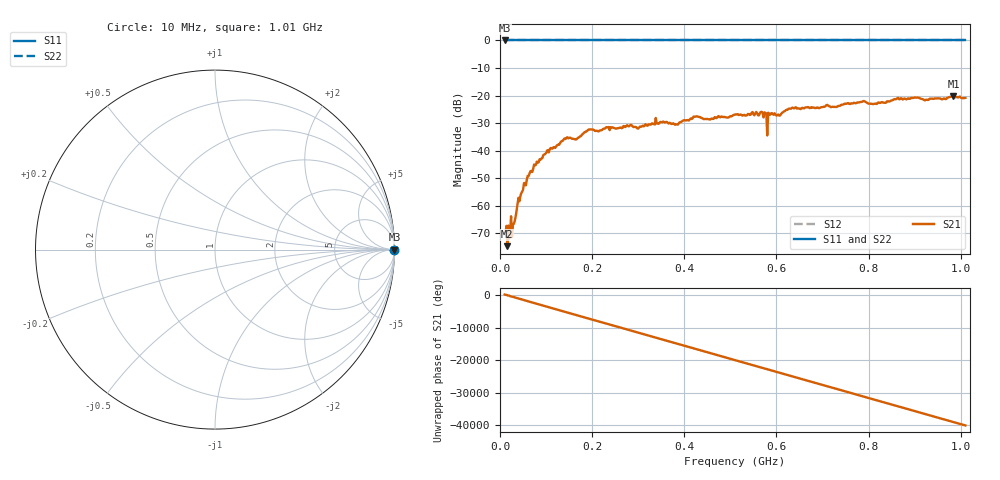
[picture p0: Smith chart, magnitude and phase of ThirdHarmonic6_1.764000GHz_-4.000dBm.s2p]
! 8/16/2025 9:17:46 PM
! C:\ANRITSUVNA\TEMP\TEMP.S2P
! CHANNEL.1
! TR.MEASUREMENT
! RAW.DATA
! RF.CORRECTION.OFF
! AVERAGING.OFF
! IF.BANDWIDTH: 5KHZ
! SWEEPTYPE:  FREQ.SWEEP(Linear)
! Reference Plane Port Info
! PORT:  PORT1  PORT2
! DISTANCE:  0  m  0  m
! TIME:  0  s  0  s
! PHASE.OFFSET:  0  deg.  0  deg.
! LOSS:  0  dB  0  dB
! REF.LOSS:  0  dB  0  dB
! REF.FREQ:  0  Hz  0  Hz
! Power Info
! POWER:  -20  dBm  -20  dBm
! EFF.POWER:  -20  dBm  -20  dBm
! SOURCE.ATTEN:  0  dB  0  dB
! TEST.ATTEN:  0  dB  0  dB
# GHZ S RI R 50.0
! FREQ.GHZ  S11RE  S11IM  S21RE  S21IM  S12RE  S12IM  S22RE  S22IM
!; PortSelection: Port_12
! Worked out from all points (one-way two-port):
!   501 points, 10 MHz to 1.01 GHz, reference 50 ohm
!   highest |S21| = -20.14 dB at 984 MHz (marker M1); lowest = -74.6 dB at 16 MHz (marker M2)
!   lowest |S11| = 0.0 dB at 10 MHz (marker M3)
!   |S11| at or under -10 dB: nowhere
!   |S22| runs from 0.0 to 0.0 dB; largest |S21 - S12| = 1.1
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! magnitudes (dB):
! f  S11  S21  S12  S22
! 10 MHz  0.0  -69.9  0.0  0.0
! 16 MHz  0.0  -74.6  0.0  0.0
! 30 MHz  0.0  -66.4  0.0  0.0
! 40 MHz  0.0  -57.1  0.0  0.0
! 50 MHz  0.0  -54.2  0.0  0.0
! 78 MHz  0.0  -45.1  0.0  0.0
! 142 MHz  0.0  -35.7  0.0  0.0
! 178 MHz  0.0  -34.1  0.0  0.0
! 196 MHz  0.0  -32.3  0.0  0.0
! 344 MHz  0.0  -30.2  0.0  0.0
! 382 MHz  0.0  -30.4  0.0  0.0
! 424 MHz  0.0  -27.7  0.0  0.0
! 452 MHz  0.0  -28.5  0.0  0.0
! 510 MHz  0.0  -26.9  0.0  0.0
! 566 MHz  0.0  -25.9  0.0  0.0
! 574 MHz  0.0  -26.1  0.0  0.0
! 576 MHz  0.0  -26.3  0.0  0.0
! 630 MHz  0.0  -24.8  0.0  0.0
! 678 MHz  0.0  -24.4  0.0  0.0
! 844 MHz  0.0  -22.1  0.0  0.0
! 984 MHz  0.0  -20.1  0.0  0.0
! 1.01 GHz  0.0  -20.8  0.0  0.0
